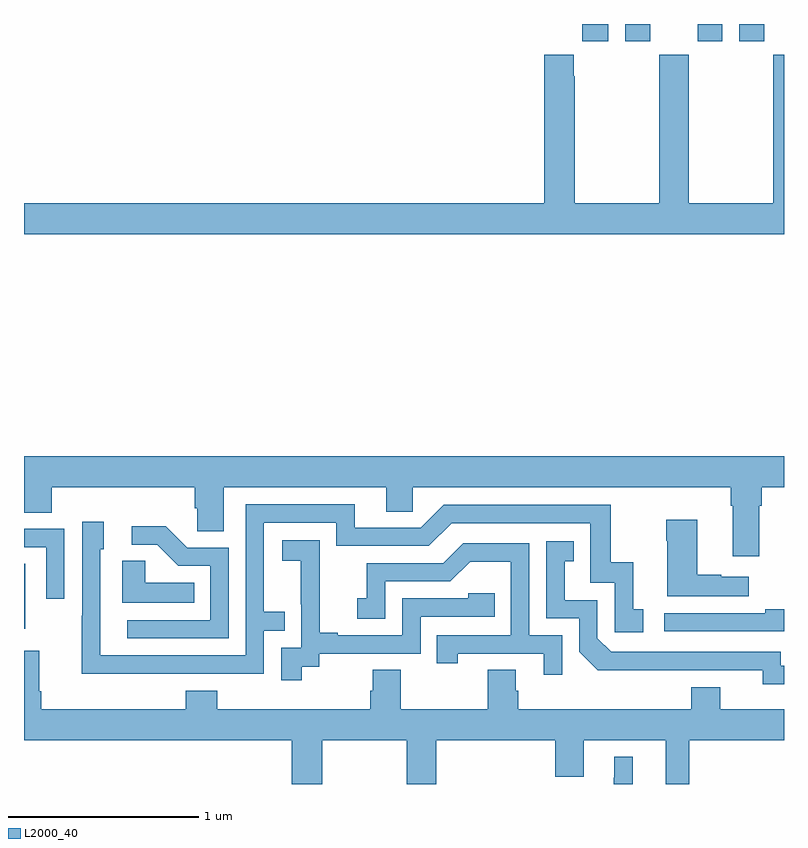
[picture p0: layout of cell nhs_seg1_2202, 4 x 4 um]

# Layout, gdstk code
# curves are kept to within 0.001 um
import gdstk
lib = gdstk.Library(unit=1e-6, precision=1e-09)
def R(c, l, rs):  # rectangles x0, y0, x1, y1
    for r in rs: c.add(gdstk.rectangle(r[:2], r[2:], *l))
def P(c, l, *ps):  # polygons
    for p in ps: c.add(gdstk.Polygon(p, *l))
L2000_40 = (2000, 40)

nhs_seg1_2202 = lib.new_cell('nhs_seg1_2202')
R(nhs_seg1_2202, L2000_40, [(231,523.017,231.007,523.357), (233.939,526.107,234.076,526.199), (234.164,526.107,234.295,526.199), (234.545,526.107,234.676,526.199), (234.764,526.107,234.895,526.199)])
P(nhs_seg1_2202, L2000_40, [(235,526.036),(234.943,526.036),(234.943,525.256),(234.498,525.256),(234.498,526.036),(234.343,526.036),(234.343,525.256),(233.898,525.256),(233.898,525.923),(233.893,525.923),(233.893,526.036),(233.738,526.036),(233.738,525.256),(231,525.256),(231,525.092),(235,525.092)],
  [(234.871,523.664),(234.884,523.664),(234.884,523.76),(235,523.76),(235,523.924),(231,523.924),(231,523.627),(231.146,523.627),(231.146,523.76),(231.899,523.76),(231.899,523.651),(231.912,523.651),(231.912,523.528),(232.051,523.528),(232.051,523.76),(232.907,523.76),(232.907,523.633),(233.046,523.633),(233.046,523.76),(234.719,523.76),(234.719,523.664),(234.731,523.664),(234.731,523.398),(234.871,523.398)],
  [(231.767,522.78),(232.263,522.78),(232.263,523.005),(232.373,523.005),(232.373,523.106),(232.263,523.106),(232.263,523.575),(232.644,523.575),(232.644,523.452),(233.13,523.452),(233.25,523.572),(233.979,523.572),(233.979,523.257),(234.108,523.257),(234.108,522.999),(234.259,522.999),(234.259,523.119),(234.206,523.119),(234.206,523.366),(234.088,523.366),(234.088,523.668),(233.208,523.668),(233.088,523.548),(232.741,523.548),(232.741,523.671),(232.167,523.671),(232.167,522.876),(231.402,522.876),(231.402,523.434),(231.421,523.434),(231.421,523.579),(231.306,523.579),(231.306,523.085),(231.304,523.085),(231.304,522.779)],
  [(234.814,523.291),(234.671,523.291),(234.671,523.301),(234.544,523.301),(234.544,523.591),(234.379,523.591),(234.379,523.478),(234.386,523.478),(234.386,523.187),(234.814,523.187)],
  [(232.077,523.443),(231.858,523.443),(231.745,523.556),(231.567,523.556),(231.567,523.458),(231.701,523.458),(231.812,523.347),(231.981,523.347),(231.981,523.062),(231.543,523.062),(231.543,522.966),(232.077,522.966)],
  [(231.213,523.542),(231,523.542),(231,523.446),(231.117,523.446),(231.117,523.173),(231.213,523.173)],
  [(232.462,522.817),(232.554,522.817),(232.554,522.885),(233.088,522.885),(233.088,523.08),(233.477,523.08),(233.477,523.203),(233.337,523.203),(233.337,523.176),(232.992,523.176),(232.992,522.981),(232.651,522.981),(232.651,522.994),(232.556,522.994),(232.556,523.277),(232.557,523.277),(232.557,523.483),(232.359,523.483),(232.359,523.373),(232.457,523.373),(232.457,523.145),(232.458,523.145),(232.458,522.915),(232.353,522.915),(232.353,522.746),(232.462,522.746)],
  [(235,522.822),(234.984,522.822),(234.984,522.894),(234.09,522.894),(234.018,522.966),(234.018,523.167),(233.845,523.167),(233.845,523.371),(233.894,523.371),(233.894,523.477),(233.748,523.477),(233.748,523.071),(233.922,523.071),(233.922,522.894),(234.02,522.797),(234.888,522.798),(234.888,522.725),(235,522.725)],
  [(233.832,522.981),(233.658,522.981),(233.658,523.467),(233.312,523.467),(233.207,523.362),(232.804,523.362),(232.804,523.177),(232.755,523.177),(232.755,523.068),(232.902,523.068),(232.902,523.266),(233.244,523.266),(233.348,523.37),(233.562,523.37),(233.562,522.981),(233.173,522.981),(233.173,522.834),(233.284,522.834),(233.284,522.885),(233.735,522.885),(233.735,522.774),(233.832,522.774)],
  [(231.896,523.258),(231.639,523.258),(231.639,523.373),(231.518,523.373),(231.518,523.154),(231.896,523.154)],
  [(235,523.118),(234.901,523.118),(234.901,523.098),(234.369,523.098),(234.369,523.002),(235,523.002)],
  [(232.569,522.428),(233.014,522.428),(233.014,522.199),(233.169,522.199),(233.169,522.428),(233.795,522.428),(233.795,522.236),(233.947,522.236),(233.947,522.428),(234.377,522.428),(234.377,522.199),(234.5,522.199),(234.5,522.428),(235,522.428),(235,522.592),(234.664,522.592),(234.664,522.709),(234.512,522.709),(234.512,522.592),(233.6,522.592),(233.6,522.69),(233.587,522.69),(233.587,522.8),(233.44,522.8),(233.44,522.592),(232.983,522.592),(232.983,522.8),(232.835,522.8),(232.835,522.69),(232.823,522.69),(232.823,522.592),(232.016,522.592),(232.016,522.691),(231.851,522.691),(231.851,522.592),(231.092,522.592),(231.092,522.688),(231.079,522.688),(231.079,522.901),(231,522.901),(231,522.428),(232.409,522.428),(232.409,522.199),(232.569,522.199)],
  [(234.205,522.343),(234.107,522.343),(234.107,522.233),(234.103,522.233),(234.103,522.199),(234.205,522.199)])

lib.write_gds('nhs_seg1_2202.gds')
